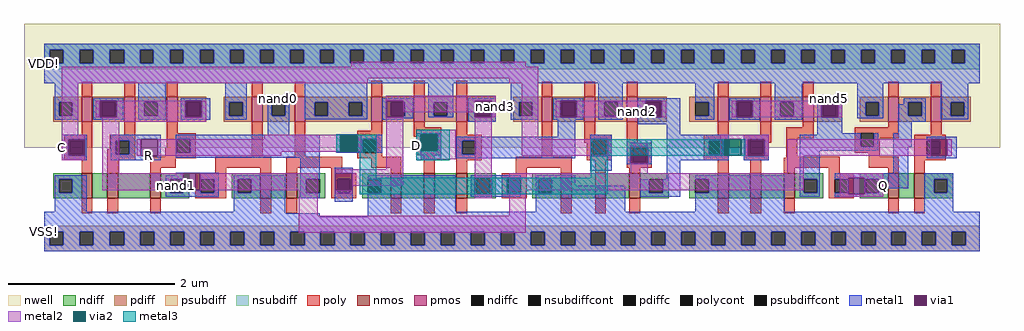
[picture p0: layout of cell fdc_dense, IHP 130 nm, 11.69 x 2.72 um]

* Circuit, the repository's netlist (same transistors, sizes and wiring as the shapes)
* SPICE3 file created from fdc_dense.ext - technology: ihp-sg13g2

X0 VDD D nand3 VDD sg13_lv_pmos ad=57f pd=0.68u as=57f ps=0.68u w=0.3u l=0.13u
X1 nand5 Q VDD VDD sg13_lv_pmos ad=0.102p pd=1.28u as=57f ps=0.68u w=0.3u l=0.13u
X2 nand1 nand0 a_88_n122# VSS sg13_lv_nmos ad=0.102p pd=1.28u as=57f ps=0.68u w=0.3u l=0.13u
X3 a_1958_n122# nand5 Q VSS sg13_lv_nmos ad=27f pd=0.48u as=0.102p ps=1.28u w=0.3u l=0.13u
X4 VDD R nand1 VDD sg13_lv_pmos ad=57f pd=0.68u as=57f ps=0.68u w=0.3u l=0.13u
X5 nand0 nand1 VDD VDD sg13_lv_pmos ad=57f pd=0.68u as=0.102p ps=1.28u w=0.3u l=0.13u
X6 VDD C nand2 VDD sg13_lv_pmos ad=57f pd=0.68u as=57f ps=0.68u w=0.3u l=0.13u
X7 nand2 nand1 a_1256_n122# VSS sg13_lv_nmos ad=0.102p pd=1.28u as=42f ps=0.58u w=0.3u l=0.13u
X8 nand1 C VDD VDD sg13_lv_pmos ad=57f pd=0.68u as=0.102p ps=1.28u w=0.3u l=0.13u
X9 a_26_n122# C VSS VSS sg13_lv_nmos ad=27f pd=0.48u as=0.102p ps=1.28u w=0.3u l=0.13u
X10 a_1174_n122# nand3 VSS VSS sg13_lv_nmos ad=42f pd=0.58u as=0.102p ps=1.28u w=0.3u l=0.13u
X11 a_766_n122# R VSS VSS sg13_lv_nmos ad=40.5f pd=0.57u as=0.102p ps=1.28u w=0.3u l=0.13u
X12 a_1256_n122# C a_1174_n122# VSS sg13_lv_nmos ad=42f pd=0.58u as=42f ps=0.58u w=0.3u l=0.13u
X13 nand5 Q a_1628_n122# VSS sg13_lv_nmos ad=0.102p pd=1.28u as=40.5f ps=0.57u w=0.3u l=0.13u
X14 VDD nand3 nand0 VDD sg13_lv_pmos ad=0.1185p pd=1.09u as=57f ps=0.68u w=0.3u l=0.13u
X15 nand3 R VDD VDD sg13_lv_pmos ad=57f pd=0.68u as=0.1185p ps=1.09u w=0.3u l=0.13u
X16 VDD R nand5 VDD sg13_lv_pmos ad=57f pd=0.68u as=57f ps=0.68u w=0.3u l=0.13u
X17 nand2 nand3 VDD VDD sg13_lv_pmos ad=57f pd=0.68u as=0.102p ps=1.28u w=0.3u l=0.13u
X18 nand3 nand2 a_846_n122# VSS sg13_lv_nmos ad=0.102p pd=1.28u as=39f ps=0.56u w=0.3u l=0.13u
X19 nand0 nand3 a_454_n122# VSS sg13_lv_nmos ad=0.102p pd=1.28u as=27f ps=0.48u w=0.3u l=0.13u
X20 a_88_n122# R a_26_n122# VSS sg13_lv_nmos ad=57f pd=0.68u as=27f ps=0.48u w=0.3u l=0.13u
X21 a_454_n122# nand1 VSS VSS sg13_lv_nmos ad=27f pd=0.48u as=0.102p ps=1.28u w=0.3u l=0.13u
X22 a_846_n122# D a_766_n122# VSS sg13_lv_nmos ad=39f pd=0.56u as=40.5f ps=0.57u w=0.3u l=0.13u
X23 nand3 nand2 VDD VDD sg13_lv_pmos ad=0.102p pd=1.28u as=57f ps=0.68u w=0.3u l=0.13u
X24 nand5 nand2 VDD VDD sg13_lv_pmos ad=57f pd=0.68u as=0.102p ps=1.28u w=0.3u l=0.13u
X25 a_1628_n122# R a_1550_n122# VSS sg13_lv_nmos ad=40.5f pd=0.57u as=39f ps=0.56u w=0.3u l=0.13u
X26 nand1 nand0 VDD VDD sg13_lv_pmos ad=0.102p pd=1.28u as=57f ps=0.68u w=0.3u l=0.13u
X27 VSS nand1 a_1958_n122# VSS sg13_lv_nmos ad=0.102p pd=1.28u as=27f ps=0.48u w=0.3u l=0.13u
X28 nand2 nand1 VDD VDD sg13_lv_pmos ad=0.105p pd=1.3u as=57f ps=0.68u w=0.3u l=0.13u
X29 a_1550_n122# nand2 VSS VSS sg13_lv_nmos ad=39f pd=0.56u as=0.102p ps=1.28u w=0.3u l=0.13u
X30 VDD nand1 Q VDD sg13_lv_pmos ad=0.105p pd=1.3u as=57f ps=0.68u w=0.3u l=0.13u
X31 Q nand5 VDD VDD sg13_lv_pmos ad=57f pd=0.68u as=0.102p ps=1.28u w=0.3u l=0.13u

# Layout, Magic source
magic
tech ihp-sg13g2
<< nwell >>
rect -69 0 1100 148
<< nmos >>
rect 0 -61 13 -31
rect 31 -61 44 -31
rect 82 -61 95 -31
rect 214 -61 227 -31
rect 245 -61 258 -31
rect 370 -61 383 -31
rect 410 -61 423 -31
rect 449 -61 462 -31
rect 574 -61 587 -31
rect 615 -61 628 -31
rect 656 -61 669 -31
rect 762 -61 775 -31
rect 801 -61 814 -31
rect 841 -61 854 -31
rect 966 -61 979 -31
rect 997 -61 1010 -31
<< pmos >>
rect 0 31 13 61
rect 51 31 64 61
rect 102 31 115 61
rect 204 31 217 61
rect 255 31 268 61
rect 347 31 360 61
rect 398 31 411 61
rect 449 31 462 61
rect 551 31 564 61
rect 602 31 615 61
rect 653 31 666 61
rect 762 31 775 61
rect 813 31 826 61
rect 864 31 877 61
rect 966 31 979 61
rect 1017 31 1030 61
<< ndiff >>
rect -34 -38 0 -31
rect -34 -54 -27 -38
rect -11 -54 0 -38
rect -34 -61 0 -54
rect 13 -61 31 -31
rect 44 -61 82 -31
rect 95 -38 129 -31
rect 95 -54 106 -38
rect 122 -54 129 -38
rect 95 -61 129 -54
rect 180 -38 214 -31
rect 180 -54 187 -38
rect 203 -54 214 -38
rect 180 -61 214 -54
rect 227 -61 245 -31
rect 258 -38 292 -31
rect 258 -54 269 -38
rect 285 -54 292 -38
rect 258 -61 292 -54
rect 336 -38 370 -31
rect 336 -54 343 -38
rect 359 -54 370 -38
rect 336 -61 370 -54
rect 383 -61 410 -31
rect 423 -61 449 -31
rect 462 -38 496 -31
rect 462 -54 473 -38
rect 489 -54 496 -38
rect 462 -61 496 -54
rect 540 -38 574 -31
rect 540 -54 547 -38
rect 563 -54 574 -38
rect 540 -61 574 -54
rect 587 -61 615 -31
rect 628 -61 656 -31
rect 669 -38 703 -31
rect 669 -54 680 -38
rect 696 -54 703 -38
rect 669 -61 703 -54
rect 728 -38 762 -31
rect 728 -54 735 -38
rect 751 -54 762 -38
rect 728 -61 762 -54
rect 775 -61 801 -31
rect 814 -61 841 -31
rect 854 -38 888 -31
rect 854 -54 865 -38
rect 881 -54 888 -38
rect 854 -61 888 -54
rect 932 -38 966 -31
rect 932 -54 939 -38
rect 955 -54 966 -38
rect 932 -61 966 -54
rect 979 -61 997 -31
rect 1010 -38 1044 -31
rect 1010 -54 1021 -38
rect 1037 -54 1044 -38
rect 1010 -61 1044 -54
<< pdiff >>
rect -34 54 0 61
rect -34 38 -27 54
rect -11 38 0 54
rect -34 31 0 38
rect 13 54 51 61
rect 13 38 24 54
rect 40 38 51 54
rect 13 31 51 38
rect 64 54 102 61
rect 64 38 75 54
rect 91 38 102 54
rect 64 31 102 38
rect 115 54 149 61
rect 115 38 126 54
rect 142 38 149 54
rect 115 31 149 38
rect 170 54 204 61
rect 170 38 177 54
rect 193 38 204 54
rect 170 31 204 38
rect 217 54 255 61
rect 217 38 228 54
rect 244 38 255 54
rect 217 31 255 38
rect 268 54 347 61
rect 268 38 279 54
rect 295 38 320 54
rect 336 38 347 54
rect 268 31 347 38
rect 360 54 398 61
rect 360 38 371 54
rect 387 38 398 54
rect 360 31 398 38
rect 411 54 449 61
rect 411 38 422 54
rect 438 38 449 54
rect 411 31 449 38
rect 462 54 496 61
rect 462 38 473 54
rect 489 38 496 54
rect 462 31 496 38
rect 517 54 551 61
rect 517 38 524 54
rect 540 38 551 54
rect 517 31 551 38
rect 564 54 602 61
rect 564 38 575 54
rect 591 38 602 54
rect 564 31 602 38
rect 615 54 653 61
rect 615 38 626 54
rect 642 38 653 54
rect 615 31 653 38
rect 666 54 701 61
rect 666 38 677 54
rect 693 38 701 54
rect 666 31 701 38
rect 728 54 762 61
rect 728 38 735 54
rect 751 38 762 54
rect 728 31 762 38
rect 775 54 813 61
rect 775 38 786 54
rect 802 38 813 54
rect 775 31 813 38
rect 826 54 864 61
rect 826 38 837 54
rect 853 38 864 54
rect 826 31 864 38
rect 877 54 911 61
rect 877 38 888 54
rect 904 38 911 54
rect 877 31 911 38
rect 932 54 966 61
rect 932 38 939 54
rect 955 38 966 54
rect 932 31 966 38
rect 979 54 1017 61
rect 979 38 990 54
rect 1006 38 1017 54
rect 979 31 1017 38
rect 1030 54 1065 61
rect 1030 38 1041 54
rect 1057 38 1065 54
rect 1030 31 1065 38
<< ndiffc >>
rect -27 -54 -11 -38
rect 106 -54 122 -38
rect 187 -54 203 -38
rect 269 -54 285 -38
rect 343 -54 359 -38
rect 473 -54 489 -38
rect 547 -54 563 -38
rect 680 -54 696 -38
rect 735 -54 751 -38
rect 865 -54 881 -38
rect 939 -54 955 -38
rect 1021 -54 1037 -38
<< pdiffc >>
rect -27 38 -11 54
rect 24 38 40 54
rect 75 38 91 54
rect 126 38 142 54
rect 177 38 193 54
rect 228 38 244 54
rect 279 38 295 54
rect 320 38 336 54
rect 371 38 387 54
rect 422 38 438 54
rect 473 38 489 54
rect 524 38 540 54
rect 575 38 591 54
rect 626 38 642 54
rect 677 38 693 54
rect 735 38 751 54
rect 786 38 802 54
rect 837 38 853 54
rect 888 38 904 54
rect 939 38 955 54
rect 990 38 1006 54
rect 1041 38 1057 54
<< psubdiff >>
rect -45 -101 1076 -94
rect -45 -117 -38 -101
rect -22 -117 -2 -101
rect 14 -117 34 -101
rect 51 -117 70 -101
rect 87 -117 106 -101
rect 123 -117 142 -101
rect 159 -117 178 -101
rect 195 -117 214 -101
rect 231 -117 250 -101
rect 267 -117 286 -101
rect 303 -117 322 -101
rect 339 -117 358 -101
rect 375 -117 394 -101
rect 411 -117 430 -101
rect 447 -117 466 -101
rect 483 -117 502 -101
rect 519 -117 538 -101
rect 555 -117 574 -101
rect 591 -117 610 -101
rect 627 -117 646 -101
rect 663 -117 682 -101
rect 699 -117 718 -101
rect 735 -117 754 -101
rect 771 -117 790 -101
rect 807 -117 826 -101
rect 843 -117 862 -101
rect 879 -117 898 -101
rect 915 -117 934 -101
rect 951 -117 970 -101
rect 987 -117 1006 -101
rect 1023 -117 1042 -101
rect 1059 -117 1076 -101
rect -45 -124 1076 -117
<< nsubdiff >>
rect -45 117 1076 124
rect -45 101 -38 117
rect -22 101 -2 117
rect 14 101 34 117
rect 51 101 70 117
rect 86 101 106 117
rect 122 101 142 117
rect 158 101 178 117
rect 194 101 214 117
rect 230 101 250 117
rect 266 101 286 117
rect 302 101 322 117
rect 338 101 358 117
rect 374 101 394 117
rect 410 101 430 117
rect 446 101 466 117
rect 482 101 502 117
rect 518 101 538 117
rect 554 101 574 117
rect 590 101 610 117
rect 626 101 646 117
rect 662 101 682 117
rect 698 101 718 117
rect 734 101 754 117
rect 770 101 790 117
rect 806 101 826 117
rect 842 101 862 117
rect 878 101 898 117
rect 914 101 934 117
rect 950 101 970 117
rect 986 101 1006 117
rect 1022 101 1042 117
rect 1058 101 1076 117
rect -45 94 1076 101
<< psubdiffcont >>
rect -38 -117 -22 -101
rect -2 -117 14 -101
rect 34 -117 51 -101
rect 70 -117 87 -101
rect 106 -117 123 -101
rect 142 -117 159 -101
rect 178 -117 195 -101
rect 214 -117 231 -101
rect 250 -117 267 -101
rect 286 -117 303 -101
rect 322 -117 339 -101
rect 358 -117 375 -101
rect 394 -117 411 -101
rect 430 -117 447 -101
rect 466 -117 483 -101
rect 502 -117 519 -101
rect 538 -117 555 -101
rect 574 -117 591 -101
rect 610 -117 627 -101
rect 646 -117 663 -101
rect 682 -117 699 -101
rect 718 -117 735 -101
rect 754 -117 771 -101
rect 790 -117 807 -101
rect 826 -117 843 -101
rect 862 -117 879 -101
rect 898 -117 915 -101
rect 934 -117 951 -101
rect 970 -117 987 -101
rect 1006 -117 1023 -101
rect 1042 -117 1059 -101
<< nsubdiffcont >>
rect -38 101 -22 117
rect -2 101 14 117
rect 34 101 51 117
rect 70 101 86 117
rect 106 101 122 117
rect 142 101 158 117
rect 178 101 194 117
rect 214 101 230 117
rect 250 101 266 117
rect 286 101 302 117
rect 322 101 338 117
rect 358 101 374 117
rect 394 101 410 117
rect 430 101 446 117
rect 466 101 482 117
rect 502 101 518 117
rect 538 101 554 117
rect 574 101 590 117
rect 610 101 626 117
rect 646 101 662 117
rect 682 101 698 117
rect 718 101 734 117
rect 754 101 770 117
rect 790 101 806 117
rect 826 101 842 117
rect 862 101 878 117
rect 898 101 914 117
rect 934 101 950 117
rect 970 101 986 117
rect 1006 101 1022 117
rect 1042 101 1058 117
<< poly >>
rect 0 61 13 79
rect 51 61 64 79
rect 102 61 115 79
rect 204 61 217 79
rect 255 61 268 79
rect 347 61 360 80
rect 398 61 411 80
rect 449 61 462 80
rect 551 61 564 79
rect 602 61 615 79
rect 653 61 666 79
rect 762 61 775 79
rect 813 61 826 79
rect 864 61 877 79
rect 966 61 979 79
rect 1017 61 1030 79
rect 0 15 13 31
rect 51 15 64 31
rect -21 8 13 15
rect -21 -8 -14 8
rect 2 -8 13 8
rect 34 8 64 15
rect 34 -2 41 8
rect -21 -15 13 -8
rect 0 -31 13 -15
rect 31 -8 41 -2
rect 57 -8 64 8
rect 102 17 115 31
rect 102 10 137 17
rect 102 0 114 10
rect 31 -15 64 -8
rect 100 -6 114 0
rect 130 -6 137 10
rect 100 -11 137 -6
rect 204 -11 217 31
rect 255 -11 268 31
rect 347 20 360 31
rect 330 10 360 20
rect 398 24 411 31
rect 398 14 431 24
rect 398 13 408 14
rect 330 -6 337 10
rect 353 -6 360 10
rect 330 -11 360 -6
rect 401 -2 408 13
rect 424 -2 431 14
rect 401 -9 431 -2
rect 449 15 462 31
rect 449 8 479 15
rect 449 -8 456 8
rect 472 -8 479 8
rect 82 -13 137 -11
rect 31 -31 44 -15
rect 82 -24 113 -13
rect 160 -24 227 -11
rect 82 -31 95 -24
rect 160 -31 173 -24
rect 214 -31 227 -24
rect 245 -24 312 -11
rect 330 -13 383 -11
rect 347 -24 383 -13
rect 245 -31 258 -24
rect 299 -31 312 -24
rect 370 -31 383 -24
rect 410 -31 423 -9
rect 449 -15 479 -8
rect 551 -11 564 31
rect 602 15 615 31
rect 602 8 635 15
rect 602 6 612 8
rect 605 -8 612 6
rect 628 -8 635 8
rect 449 -31 462 -15
rect 520 -24 587 -11
rect 605 -15 635 -8
rect 653 6 666 31
rect 762 15 775 31
rect 813 15 826 31
rect 864 24 877 31
rect 966 24 979 31
rect 745 8 775 15
rect 653 -1 683 6
rect 520 -31 533 -24
rect 574 -31 587 -24
rect 615 -31 628 -15
rect 653 -17 660 -1
rect 676 -17 683 -1
rect 745 -8 752 8
rect 768 -8 775 8
rect 745 -15 775 -8
rect 793 8 826 15
rect 793 -8 800 8
rect 816 6 826 8
rect 844 11 877 24
rect 926 17 979 24
rect 816 -8 823 6
rect 793 -15 823 -8
rect 844 -11 857 11
rect 926 1 933 17
rect 949 11 979 17
rect 1017 15 1030 31
rect 949 1 956 11
rect 926 -6 956 1
rect 943 -11 956 -6
rect 997 8 1035 15
rect 997 -8 1012 8
rect 1028 -8 1035 8
rect 844 -12 908 -11
rect 653 -24 683 -17
rect 656 -31 669 -24
rect 762 -31 775 -15
rect 801 -31 814 -15
rect 841 -24 908 -12
rect 943 -24 979 -11
rect 841 -31 854 -24
rect 895 -31 908 -24
rect 966 -31 979 -24
rect 997 -15 1035 -8
rect 997 -31 1010 -15
rect 136 -38 173 -31
rect 136 -54 143 -38
rect 159 -54 173 -38
rect 136 -61 173 -54
rect 299 -38 329 -31
rect 299 -54 306 -38
rect 322 -54 329 -38
rect 299 -61 329 -54
rect 503 -38 533 -31
rect 503 -54 510 -38
rect 526 -54 533 -38
rect 503 -61 533 -54
rect 895 -38 925 -31
rect 895 -54 902 -38
rect 918 -54 925 -38
rect 895 -61 925 -54
rect 0 -79 13 -61
rect 31 -79 44 -61
rect 82 -79 95 -61
rect 214 -79 227 -61
rect 245 -79 258 -61
rect 370 -79 383 -61
rect 410 -79 423 -61
rect 449 -79 462 -61
rect 574 -79 587 -61
rect 615 -79 628 -61
rect 656 -79 669 -61
rect 762 -79 775 -61
rect 801 -79 814 -61
rect 841 -79 854 -61
rect 966 -79 979 -61
rect 997 -79 1010 -61
<< polycont >>
rect -14 -8 2 8
rect 41 -8 57 8
rect 114 -6 130 10
rect 337 -6 353 10
rect 408 -2 424 14
rect 456 -8 472 8
rect 612 -8 628 8
rect 660 -17 676 -1
rect 752 -8 768 8
rect 800 -8 816 8
rect 933 1 949 17
rect 1012 -8 1028 8
rect 143 -54 159 -38
rect 306 -54 322 -38
rect 510 -54 526 -38
rect 902 -54 918 -38
<< metal1 >>
rect -45 117 1076 124
rect -45 101 -38 117
rect -22 101 -2 117
rect 14 101 34 117
rect 51 101 70 117
rect 86 101 106 117
rect 122 101 142 117
rect 158 101 178 117
rect 194 101 214 117
rect 230 101 250 117
rect 266 101 286 117
rect 302 101 322 117
rect 338 101 358 117
rect 374 101 394 117
rect 410 101 430 117
rect 446 101 466 117
rect 482 101 502 117
rect 518 101 538 117
rect 554 101 574 117
rect 590 101 610 117
rect 626 101 646 117
rect 662 101 682 117
rect 698 101 718 117
rect 734 101 754 117
rect 770 101 790 117
rect 806 101 826 117
rect 842 101 862 117
rect 878 101 898 117
rect 914 101 934 117
rect 950 101 970 117
rect 986 101 1006 117
rect 1022 101 1042 117
rect 1058 101 1076 117
rect -45 77 1076 101
rect -32 54 -4 77
rect -32 38 -27 54
rect -11 38 -4 54
rect -32 33 -4 38
rect 14 56 50 59
rect 14 36 22 56
rect 42 36 50 56
rect 14 33 50 36
rect 68 54 101 77
rect 68 38 75 54
rect 91 38 101 54
rect 68 33 101 38
rect 119 56 154 59
rect 119 36 124 56
rect 144 36 154 56
rect 119 33 154 36
rect 172 54 198 77
rect 172 38 177 54
rect 193 38 198 54
rect 172 33 198 38
rect 223 54 249 59
rect 223 38 228 54
rect 244 38 249 54
rect 223 15 249 38
rect 267 54 342 77
rect 267 38 279 54
rect 295 38 320 54
rect 336 38 342 54
rect 267 34 342 38
rect 360 56 397 59
rect 360 36 365 56
rect 385 54 397 56
rect 387 38 397 54
rect 385 36 397 38
rect 415 54 445 77
rect 415 38 422 54
rect 438 38 445 54
rect 415 36 445 38
rect 463 56 496 59
rect 463 36 471 56
rect 491 36 496 56
rect 360 35 397 36
rect 360 33 383 35
rect 463 31 496 36
rect 514 54 547 77
rect 514 38 524 54
rect 540 38 547 54
rect 514 33 547 38
rect 565 56 601 59
rect 565 36 573 56
rect 593 36 601 56
rect 565 33 601 36
rect 619 54 648 77
rect 619 38 626 54
rect 642 38 648 54
rect 619 33 648 38
rect 666 56 717 59
rect 666 36 675 56
rect 695 36 717 56
rect 401 16 431 17
rect 305 15 331 16
rect -24 10 6 15
rect -24 -10 -16 10
rect 4 -10 6 10
rect -24 -15 6 -10
rect 35 10 95 15
rect 35 8 71 10
rect 35 -8 41 8
rect 57 -8 71 8
rect 35 -10 71 -8
rect 91 -10 95 10
rect 35 -15 95 -10
rect 113 10 285 15
rect 113 -6 114 10
rect 130 -6 285 10
rect 305 -5 310 15
rect 330 10 360 15
rect 330 -5 337 10
rect 305 -6 337 -5
rect 353 -6 360 10
rect 401 -4 406 16
rect 426 -4 431 16
rect 570 13 591 33
rect 666 28 717 36
rect 735 54 758 77
rect 751 38 758 54
rect 735 33 758 38
rect 776 56 812 59
rect 776 36 784 56
rect 804 36 812 56
rect 776 33 812 36
rect 830 54 863 77
rect 830 38 837 54
rect 853 38 863 54
rect 830 33 863 38
rect 881 56 911 59
rect 881 36 886 56
rect 906 36 911 56
rect 701 15 717 28
rect 881 17 911 36
rect 929 54 960 77
rect 929 38 939 54
rect 955 38 960 54
rect 985 54 1011 59
rect 985 52 990 54
rect 929 35 960 38
rect 978 38 990 52
rect 1006 38 1011 54
rect 978 31 1011 38
rect 1029 54 1062 77
rect 1029 38 1041 54
rect 1057 38 1062 54
rect 1029 34 1062 38
rect 978 17 994 31
rect 881 15 933 17
rect 113 -12 285 -6
rect 113 -31 164 -30
rect 113 -33 122 -31
rect -32 -38 6 -33
rect -32 -54 -27 -38
rect -11 -54 6 -38
rect -32 -77 6 -54
rect 101 -38 122 -33
rect 101 -54 106 -38
rect 142 -38 164 -31
rect 142 -51 143 -38
rect 122 -54 143 -51
rect 159 -54 164 -38
rect 101 -59 164 -54
rect 182 -38 244 -33
rect 182 -54 187 -38
rect 203 -54 244 -38
rect 182 -77 244 -54
rect 262 -38 285 -12
rect 401 -15 431 -4
rect 449 8 591 13
rect 449 -8 456 8
rect 472 -8 591 8
rect 449 -13 591 -8
rect 609 10 635 15
rect 609 -10 610 10
rect 630 -10 635 10
rect 262 -54 269 -38
rect 262 -61 285 -54
rect 303 -31 325 -24
rect 609 -28 635 -10
rect 653 1 683 10
rect 653 -19 658 1
rect 678 -19 683 1
rect 653 -20 683 -19
rect 701 8 775 15
rect 701 -8 752 8
rect 768 -8 775 8
rect 701 -15 775 -8
rect 793 10 823 15
rect 793 -10 798 10
rect 818 -10 823 10
rect 793 -15 823 -10
rect 860 1 933 15
rect 949 1 954 17
rect 860 -4 954 1
rect 972 1 994 17
rect 1012 10 1048 13
rect 1012 8 1017 10
rect 303 -51 304 -31
rect 324 -51 325 -31
rect 303 -54 306 -51
rect 322 -54 325 -51
rect 303 -65 325 -54
rect 343 -38 448 -33
rect 359 -54 448 -38
rect -45 -79 244 -77
rect 343 -77 448 -54
rect 466 -36 526 -33
rect 466 -56 471 -36
rect 491 -38 526 -36
rect 491 -54 510 -38
rect 491 -56 526 -54
rect 466 -59 526 -56
rect 544 -38 591 -33
rect 701 -38 717 -15
rect 544 -54 547 -38
rect 563 -46 591 -38
rect 563 -54 651 -46
rect 544 -77 651 -54
rect 669 -54 680 -38
rect 696 -54 717 -38
rect 669 -59 717 -54
rect 735 -38 842 -33
rect 751 -54 842 -38
rect 735 -77 842 -54
rect 860 -38 884 -4
rect 972 -31 990 1
rect 1012 -10 1017 -8
rect 1037 -10 1048 10
rect 1012 -13 1048 -10
rect 860 -54 865 -38
rect 881 -54 884 -38
rect 860 -59 884 -54
rect 902 -36 990 -31
rect 902 -38 918 -36
rect 902 -56 918 -54
rect 938 -38 990 -36
rect 938 -54 939 -38
rect 955 -49 990 -38
rect 1009 -38 1044 -31
rect 955 -54 960 -49
rect 938 -56 960 -54
rect 902 -59 960 -56
rect 1009 -54 1021 -38
rect 1037 -54 1044 -38
rect 1009 -77 1044 -54
rect -45 -83 285 -79
rect 343 -83 1076 -77
rect -45 -101 1076 -83
rect -45 -117 -38 -101
rect -22 -117 -2 -101
rect 14 -117 34 -101
rect 51 -117 70 -101
rect 87 -117 106 -101
rect 123 -117 142 -101
rect 159 -117 178 -101
rect 195 -117 214 -101
rect 231 -117 250 -101
rect 267 -117 286 -101
rect 303 -117 322 -101
rect 339 -117 358 -101
rect 375 -117 394 -101
rect 411 -117 430 -101
rect 447 -117 466 -101
rect 483 -117 502 -101
rect 519 -117 538 -101
rect 555 -117 574 -101
rect 591 -117 610 -101
rect 627 -117 646 -101
rect 663 -117 682 -101
rect 699 -117 718 -101
rect 735 -117 754 -101
rect 771 -117 790 -101
rect 807 -117 826 -101
rect 843 -117 862 -101
rect 879 -117 898 -101
rect 915 -117 934 -101
rect 951 -117 970 -101
rect 987 -117 1006 -101
rect 1023 -117 1042 -101
rect 1059 -117 1076 -101
rect -45 -124 1076 -117
<< via1 >>
rect 22 54 42 56
rect 22 38 24 54
rect 24 38 40 54
rect 40 38 42 54
rect 22 36 42 38
rect 124 54 144 56
rect 124 38 126 54
rect 126 38 142 54
rect 142 38 144 54
rect 124 36 144 38
rect 365 54 385 56
rect 365 38 371 54
rect 371 38 385 54
rect 365 36 385 38
rect 471 54 491 56
rect 471 38 473 54
rect 473 38 489 54
rect 489 38 491 54
rect 471 36 491 38
rect 573 54 593 56
rect 573 38 575 54
rect 575 38 591 54
rect 591 38 593 54
rect 573 36 593 38
rect 675 54 695 56
rect 675 38 677 54
rect 677 38 693 54
rect 693 38 695 54
rect 675 36 695 38
rect -16 8 4 10
rect -16 -8 -14 8
rect -14 -8 2 8
rect 2 -8 4 8
rect -16 -10 4 -8
rect 71 -10 91 10
rect 310 -5 330 15
rect 406 14 426 16
rect 406 -2 408 14
rect 408 -2 424 14
rect 424 -2 426 14
rect 406 -4 426 -2
rect 784 54 804 56
rect 784 38 786 54
rect 786 38 802 54
rect 802 38 804 54
rect 784 36 804 38
rect 886 54 906 56
rect 886 38 888 54
rect 888 38 904 54
rect 904 38 906 54
rect 886 36 906 38
rect 122 -51 142 -31
rect 610 8 630 10
rect 610 -8 612 8
rect 612 -8 628 8
rect 628 -8 630 8
rect 610 -10 630 -8
rect 658 -1 678 1
rect 658 -17 660 -1
rect 660 -17 676 -1
rect 676 -17 678 -1
rect 658 -19 678 -17
rect 798 8 818 10
rect 798 -8 800 8
rect 800 -8 816 8
rect 816 -8 818 8
rect 798 -10 818 -8
rect 1017 8 1037 10
rect 304 -38 324 -31
rect 304 -51 306 -38
rect 306 -51 322 -38
rect 322 -51 324 -38
rect 471 -38 491 -36
rect 471 -54 473 -38
rect 473 -54 489 -38
rect 489 -54 491 -38
rect 471 -56 491 -54
rect 1017 -8 1028 8
rect 1028 -8 1037 8
rect 1017 -10 1037 -8
rect 918 -56 938 -36
<< metal2 >>
rect 323 97 532 103
rect -24 83 547 97
rect -24 77 343 83
rect 512 77 547 83
rect -24 15 -4 77
rect 364 56 496 62
rect 17 36 22 56
rect 42 36 124 56
rect 144 36 149 56
rect 364 36 365 56
rect 385 42 471 56
rect 25 31 149 36
rect -24 10 4 15
rect -24 -10 -16 10
rect -24 -15 4 -10
rect 25 -31 45 31
rect 219 10 310 15
rect 66 -10 71 10
rect 91 -5 310 10
rect 330 -5 335 15
rect 91 -10 239 -5
rect 365 -26 385 36
rect 491 36 496 56
rect 406 16 448 21
rect 426 -4 448 16
rect 406 -14 448 -4
rect 304 -31 385 -26
rect 25 -51 122 -31
rect 142 -51 283 -31
rect 260 -82 283 -51
rect 324 -46 385 -31
rect 471 -36 491 36
rect 527 10 547 77
rect 568 36 573 56
rect 593 36 675 56
rect 695 36 700 56
rect 779 36 784 56
rect 804 36 886 56
rect 906 36 911 56
rect 765 10 823 15
rect 527 -10 610 10
rect 630 -10 635 10
rect 658 1 678 6
rect 765 -10 770 10
rect 790 -10 798 10
rect 818 -10 823 10
rect 845 -10 1017 10
rect 1037 -10 1042 10
rect 658 -31 678 -19
rect 845 -31 865 -10
rect 304 -56 324 -51
rect 471 -61 491 -56
rect 512 -51 865 -31
rect 908 -36 960 -31
rect 512 -82 532 -51
rect 908 -56 918 -36
rect 938 -56 960 -36
rect 908 -59 960 -56
rect 260 -102 532 -82
<< via2 >>
rect 310 -5 330 15
rect 406 -4 426 16
rect 770 -10 790 10
<< metal3 >>
rect 401 16 441 21
rect 305 -5 310 15
rect 330 -5 353 15
rect 333 -36 353 -5
rect 401 -4 406 16
rect 426 -4 441 16
rect 401 -15 441 -4
rect 610 -10 770 10
rect 790 -10 795 10
rect 610 -36 630 -10
rect 333 -56 630 -36
<< labels >>
rlabel metal1 -45 77 -45 124 1 VDD!
rlabel metal1 -45 -124 -45 -77 1 VSS!
rlabel metal2 -24 -15 -24 15 1 C
rlabel metal3 401 -15 401 21 1 D
rlabel metal2 960 -59 960 -31 1 Q
rlabel metal1 101 -59 127 -33 1 nand1
rlabel metal1 223 59 249 59 1 nand0
rlabel metal2 496 36 496 62 1 nand3
rlabel metal1 666 28 666 59 1 nand2
rlabel metal1 881 59 911 59 1 nand5
rlabel metal1 66 -10 95 -10 1 R
<< end >>
